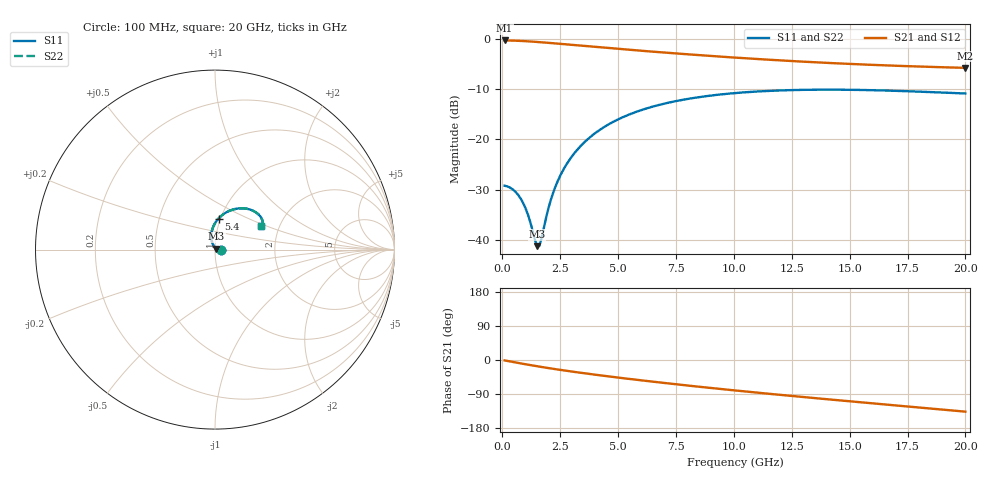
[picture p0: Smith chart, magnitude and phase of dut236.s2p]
! Created with skrf 1.9.0 (http://scikit-rf.org).
# GHz S RI R 50.0
!freq ReS11 ImS11 ReS21 ImS21 ReS12 ImS12 ReS22 ImS22
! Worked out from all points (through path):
!   200 points, 100 MHz to 20 GHz, reference 50 ohm
!   highest |S21| = -0.31 dB at 100 MHz (marker M1); lowest = -5.8 dB at 20 GHz (marker M2)
!   group delay of S21, straight-line fit = 18 ps
!   lowest |S11| = -41.2 dB at 1.5 GHz (marker M3), VSWR 1.02, Z = 50.7 + j0.532 ohm
!   |S11| at or under -10 dB: start of sweep to end of sweep
!   |S22| runs from -41.2 to -10.1 dB; largest |S21 - S12| = 2.1e-15
!   S11 on the Smith chart (normalised r, x): 100 MHz: 1.07, -0.00; 5.4 GHz: 0.98, +0.35; 20 GHz: 1.61, +0.45
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0.1  0.0347 -0.000857  0.9648 -0.0192  0.9648 -0.0192  0.0347 -0.000857
0.5  0.0311 -0.00322  0.9562 -0.0953  0.9562 -0.0953  0.0311 -0.00322
0.7  0.0276 -0.0036  0.948 -0.1319  0.948 -0.1319  0.0276 -0.0036
0.9  0.0231 -0.00308  0.9374 -0.1673  0.9374 -0.1673  0.0231 -0.00308
1.1  0.0181 -0.00149  0.9248 -0.2012  0.9248 -0.2012  0.0181 -0.00149
1.5  0.00693 0.00525  0.8947 -0.2641  0.8947 -0.2641  0.00693 0.00525
1.6  0.00414 0.00767  0.8863 -0.2788  0.8863 -0.2788  0.00414 0.00767
1.7  0.00141 0.0104  0.8777 -0.293  0.8777 -0.293  0.00141 0.0104
2  -0.00621 0.0201  0.8504 -0.3331  0.8504 -0.3331  -0.00621 0.0201
2.2  -0.0106 0.0277  0.8314 -0.3578  0.8314 -0.3578  -0.0106 0.0277
2.4  -0.0143 0.0361  0.8119 -0.3809  0.8119 -0.3809  -0.0143 0.0361
2.6  -0.0172 0.0451  0.792 -0.4026  0.792 -0.4026  -0.0172 0.0451
2.9  -0.0201 0.0594  0.7617 -0.4325  0.7617 -0.4325  -0.0201 0.0594
3.5  -0.0201 0.0894  0.7005 -0.4841  0.7005 -0.4841  -0.0201 0.0894
4.3  -0.00946 0.1282  0.6191 -0.5389  0.6191 -0.5389  -0.00946 0.1282
5.4  0.0195 0.173  0.5097 -0.593  0.5097 -0.593  0.0195 0.173
6.8  0.0686 0.2106  0.377 -0.6338  0.377 -0.6338  0.0686 0.2106
8.3  0.1234 0.2283  0.2457 -0.6501  0.2457 -0.6501  0.1234 0.2283
10.1  0.1806 0.2268  0.1057 -0.642  0.1057 -0.642  0.1806 0.2268
13.4  0.2465 0.1918  -0.1021 -0.5783  -0.1021 -0.5783  0.2465 0.1918
16.7  0.2658 0.1516  -0.2578 -0.4789  -0.2578 -0.4789  0.2658 0.1516
20  0.2556 0.1295  -0.3726 -0.356  -0.3726 -0.356  0.2556 0.1295
